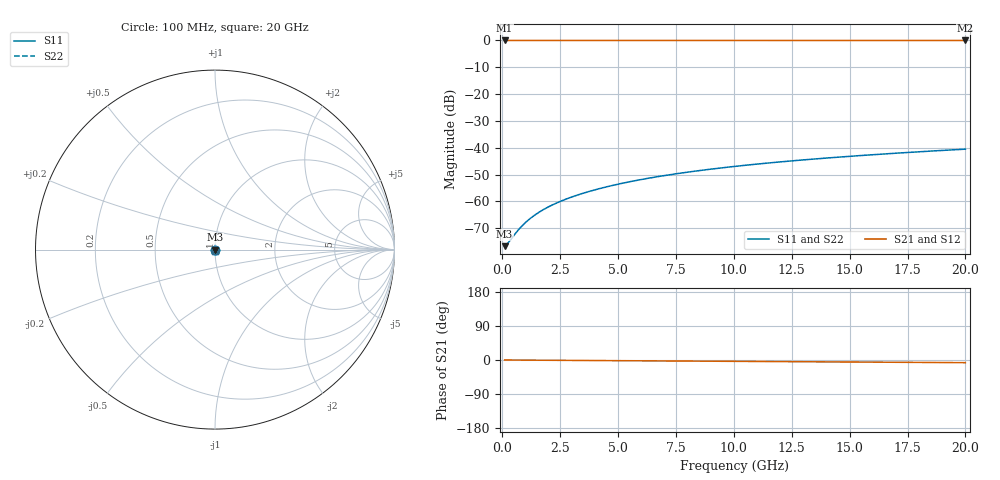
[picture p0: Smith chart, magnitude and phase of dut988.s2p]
! Touchstone file exported from HFSS 2026.1.0
!  File:  C:/ffzhzh/LocalFiles/Ansys_Project_Files/temp_train_TSV_988_1783188103_22436.aedt
!  Generated:  02:03:19 AM Jul  5, 2026
!  Design:  TSV
!  Project:  temp_train_TSV_988_1783188103_22436
! Variables:
!  h_bsmrdl = 2um
!  h_ox = 20um
!  h_rdl = 5um
!  h_sub = 71.89um
!  h_tmrdl = 5um
!  h_tsv = 71.89um
!  h_via = 3um
!  l_bsmrdl = 300um
!  l_sub = 417.68um
!  l_tmrdl = 200um
!  m_sub = 200um
!  pitch = 33.09um
!  r_tsv = 8.84um
!  s_tmrdl = 10um
!  w_bsmrdl = 18um
!  w_sub = 500um
!  w_tmrdl = 12um
!  x_tsv_center1 = 206um
!  x_tsv_center2 = 524um
!  x_tsv_center3 = 736um
!  x_tsv_center4 = 1054um
!  x_tsv_center5 = 1266um
!  x_tsv_center6 = 1584um
# GHz S MA R 50.000000
! Terminal data exported
! Port[1] = TSV1_1_T1
! Port[2] = TSV1_1_T2
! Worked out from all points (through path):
!   200 points, 100 MHz to 20 GHz, reference 50 ohm
!   highest |S21| = 0.00 dB at 100 MHz (marker M1); lowest = 0.0 dB at 20 GHz (marker M2)
!   lowest |S11| = -76.7 dB at 100 MHz (marker M3), VSWR 1.00, Z = 50 - j0.000266 ohm
!   |S11| at or under -10 dB: start of sweep to end of sweep
!   |S22| runs from -76.7 to -40.5 dB; largest |S21 - S12| = 3.1e-15
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0.1  0.0001457 -1.0  0.9999 -0.0  0.9999 -0.0  0.0001457 -1.0
! Gamma 0 0 0 0
! Port Impedance 50 0 50 0
0.2  0.0001584 -3.0  0.9998 -0.1  0.9998 -0.1  0.0001584 -3.0
0.3  0.0001778 -6.2  0.9998 -0.1  0.9998 -0.1  0.0001778 -6.2
0.6  0.0002618 -19.6  0.9998 -0.2  0.9998 -0.2  0.0002618 -19.6
0.7  0.0002949 -24.2  0.9997 -0.3  0.9997 -0.3  0.0002949 -24.2
0.9  0.0003651 -32.3  0.9997 -0.3  0.9997 -0.3  0.0003651 -32.3
1.2  0.0004765 -41.9  0.9996 -0.4  0.9996 -0.4  0.0004765 -41.9
1.5  0.0005921 -49.0  0.9996 -0.5  0.9996 -0.5  0.0005921 -49.0
1.9  0.0007503 -55.5  0.9996 -0.7  0.9996 -0.7  0.0007503 -55.5
2.4  0.0009535 -61.1  0.9995 -0.9  0.9995 -0.9  0.0009535 -61.1
2.9  0.001162 -64.8  0.9995 -1.0  0.9995 -1.0  0.001162 -64.8
3.5  0.001419 -68.0  0.9994 -1.3  0.9994 -1.3  0.001419 -68.0
4.2  0.001727 -70.7  0.9994 -1.5  0.9994 -1.5  0.001727 -70.7
5  0.002088 -73.1  0.9993 -1.8  0.9993 -1.8  0.002088 -73.1
5.9  0.002504 -75.1  0.9993 -2.1  0.9993 -2.1  0.002504 -75.1
6.8  0.002926 -76.8  0.9992 -2.4  0.9992 -2.4  0.002926 -76.8
8.3  0.003642 -79.1  0.9991 -2.9  0.9991 -2.9  0.003642 -79.1
10.1  0.00451 -81.3  0.999 -3.6  0.999 -3.6  0.00451 -81.3
11.7  0.005288 -82.9  0.999 -4.1  0.999 -4.1  0.005288 -82.9
13.4  0.006119 -84.4  0.9989 -4.7  0.9989 -4.7  0.006119 -84.4
16.7  0.007746 -86.8  0.9987 -5.9  0.9987 -5.9  0.007746 -86.7
20  0.009397 -88.7  0.9986 -7.0  0.9986 -7.0  0.009397 -88.7
